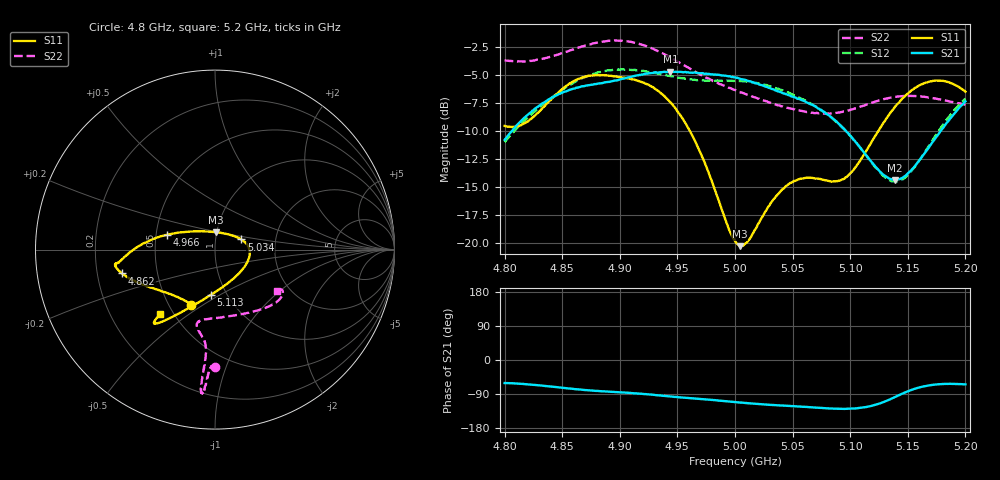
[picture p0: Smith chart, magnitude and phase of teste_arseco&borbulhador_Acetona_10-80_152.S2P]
! Network Analyzer HP8722D
! Hewlett-Packard
! Data name: Linha & Wilkinson
! Saver's name: Rodrigo Anjos
! Comments: Teste da utilização de aquisição
! continua pelo VNA HP8722D
! Time and date: 17/4/2025 15:37
!  Frequency  S11  S21  S12  S22
# HZ  S  MA R 50
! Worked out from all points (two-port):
!   401 points, 4.8 GHz to 5.2 GHz, reference 50 ohm
!   highest |S21| = -4.67 dB at 4.944 GHz (marker M1); lowest = -14.4 dB at 5.139 GHz (marker M2)
!   |S21| within 3 dB of the highest: 4.831 GHz to 5.068 GHz (236.5 MHz wide, 4.78 % of centre); 5.196832 GHz to end of sweep
!   lowest |S11| = -20.3 dB at 5.004 GHz (marker M3), VSWR 1.21, Z = 49.4 + j9.61 ohm
!   |S11| at or under -10 dB: 4.961 GHz to 5.124 GHz (163.4 MHz wide, 3.24 % of centre)
!   |S22| runs from -8.4 to -1.9 dB; largest |S21 - S12| = 0.88
!   S11 on the Smith chart (normalised r, x): 4.8 GHz: 0.65, -0.45; 4.862 GHz: 0.31, -0.11; 4.966 GHz: 0.57, +0.10; 5.034 GHz: 1.33, +0.15; 5.113 GHz: 0.84, -0.45; 5.2 GHz: 0.42, -0.39
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4.8e9  0.3334 -113.3  0.2885 -60.8  0.2822 -174.9  0.656 -90.0
4.819e9  0.3466 -133.2  0.3701 -64.0  0.3581 -173.6  0.6512 -91.6
4.862e9  0.5358 -165.6  0.4945 -77.1  0.5283 -176.6  0.7421 -93.8
4.867e9  0.5483 -167.6  0.5018 -78.5  0.5442 -177.7  0.7561 -93.9
4.9e9  0.5514 -172.1  0.5384 -85.0  0.5954 175.6  0.8026 -95.4
4.934e9  0.4757 -178.0  0.5786 -93.3  0.5724 171.8  0.7172 -95.7
4.944e9  0.4252 177.4  0.584 -96.2  0.557 171.9  0.6751 -95.5
4.966e9  0.2803 162.9  0.5771 -101.8  0.5355 173.9  0.581 -95.0
5e9  0.1018 101.9  0.5504 -111.1  0.5318 176.2  0.4831 -99.1
5.004e9  0.0964 88.0  0.543 -112.0  0.5296 176.2  0.4736 -100.1
5.012e9  0.1027 61.5  0.529 -114.2  0.5251 175.9  0.457 -101.7
5.034e9  0.1572 21.0  0.4843 -119.0  0.4953 174.9  0.4181 -103.5
5.049e9  0.1857 5.7  0.4521 -121.6  0.4632 174.3  0.3983 -99.9
5.067e9  0.1949 -13.5  0.4149 -124.9  0.4164 173.7  0.3824 -90.8
5.093e9  0.1921 -57.8  0.3297 -128.7  0.3276 174.1  0.3852 -70.6
5.113e9  0.253 -95.1  0.2493 -124.6  0.2496 -180.0  0.4131 -55.0
5.134e9  0.3757 -116.4  0.1936 -104.5  0.1905 -157.4  0.4452 -42.9
5.139e9  0.4068 -119.3  0.1906 -97.7  0.1881 -149.5  0.45 -40.8
5.151e9  0.4705 -124.4  0.2059 -81.4  0.2038 -131.0  0.4545 -36.4
5.17e9  0.5283 -128.7  0.2746 -66.3  0.2803 -112.4  0.4455 -31.9
5.184e9  0.5258 -130.1  0.3455 -63.1  0.3573 -107.2  0.4319 -31.0
5.2e9  0.4747 -130.4  0.4299 -64.3  0.442 -106.4  0.4152 -33.3
